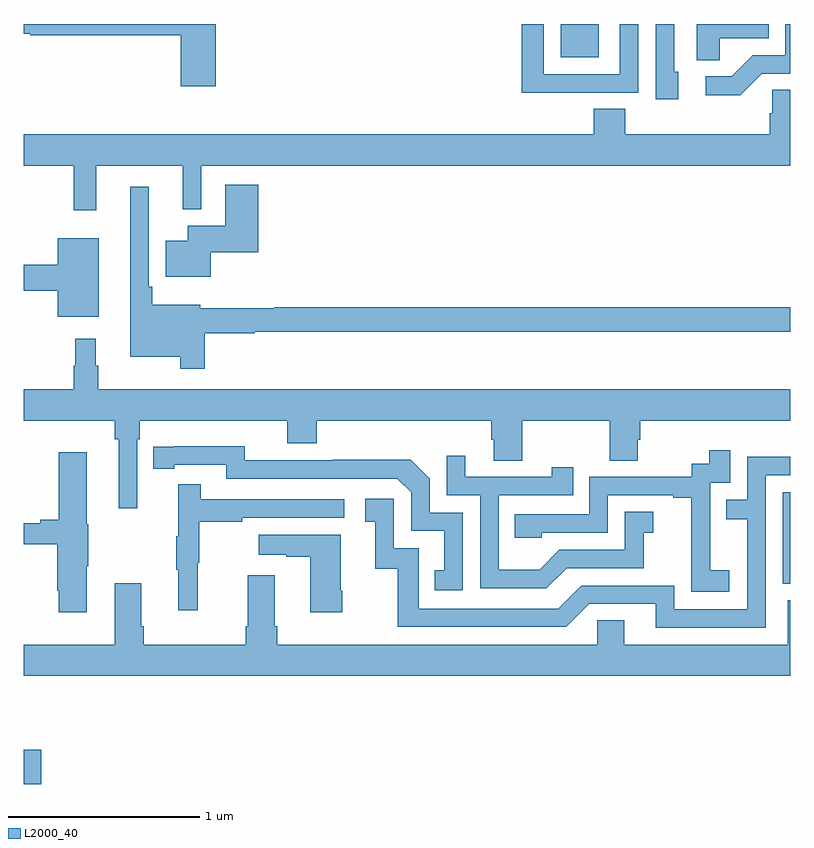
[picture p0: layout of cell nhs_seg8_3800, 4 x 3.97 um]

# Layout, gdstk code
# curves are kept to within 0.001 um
import gdstk
lib = gdstk.Library(unit=1e-6, precision=1e-09)
def R(c, l, rs):  # rectangles x0, y0, x1, y1
    for r in rs: c.add(gdstk.rectangle(r[:2], r[2:], *l))
def P(c, l, *ps):  # polygons
    for p in ps: c.add(gdstk.Polygon(p, *l))
L2000_40 = (2000, 40)

nhs_seg8_3800 = lib.new_cell('nhs_seg8_3800')
R(nhs_seg8_3800, L2000_40, [(345,1119.932,345.091,1120.11), (348.963,1120.977,349,1121.454), (347.804,1123.727,348.001,1123.9)])
P(nhs_seg8_3800, L2000_40, [(348.852,1123.641),(349,1123.641),(349,1123.9),(348.975,1123.9),(348.975,1123.737),(348.806,1123.737),(348.695,1123.626),(348.561,1123.626),(348.561,1123.529),(348.739,1123.529)],
  [(346.001,1123.9),(345,1123.9),(345,1123.848),(345.034,1123.848),(345.034,1123.84),(345.818,1123.84),(345.818,1123.575),(346.001,1123.575)],
  [(348.633,1123.826),(348.89,1123.826),(348.89,1123.9),(348.512,1123.9),(348.512,1123.711),(348.633,1123.711)],
  [(348.415,1123.65),(348.396,1123.65),(348.396,1123.9),(348.3,1123.9),(348.3,1123.506),(348.415,1123.506)],
  [(347.891,1123.542),(348.207,1123.542),(348.207,1123.9),(348.111,1123.9),(348.111,1123.638),(347.715,1123.638),(347.715,1123.9),(347.599,1123.9),(347.599,1123.541),(347.891,1123.541)],
  [(345.377,1123.16),(345.83,1123.16),(345.83,1122.932),(345.927,1122.932),(345.927,1123.16),(349,1123.16),(349,1123.556),(348.906,1123.556),(348.906,1123.433),(348.893,1123.433),(348.893,1123.324),(348.14,1123.324),(348.14,1123.457),(347.975,1123.457),(347.975,1123.324),(345,1123.324),(345,1123.16),(345.259,1123.16),(345.259,1122.927),(345.377,1122.927)],
  [(345.976,1122.707),(346.223,1122.707),(346.223,1123.06),(346.052,1123.06),(346.052,1122.847),(345.854,1122.847),(345.854,1122.769),(345.74,1122.769),(345.74,1122.581),(345.976,1122.581)],
  [(345.944,1122.286),(346.206,1122.286),(346.206,1122.294),(349,1122.294),(349,1122.422),(346.306,1122.422),(346.306,1122.415),(345.921,1122.415),(345.921,1122.433),(345.671,1122.433),(345.671,1122.529),(345.651,1122.529),(345.651,1123.051),(345.554,1123.051),(345.554,1122.164),(345.816,1122.164),(345.816,1122.099),(345.944,1122.099)],
  [(345.391,1122.781),(345.176,1122.781),(345.176,1122.644),(345,1122.644),(345,1122.508),(345.176,1122.508),(345.176,1122.371),(345.391,1122.371)],
  [(345.591,1121.732),(345.605,1121.732),(345.605,1121.828),(346.376,1121.828),(346.376,1121.711),(346.529,1121.711),(346.529,1121.828),(347.441,1121.828),(347.441,1121.73),(347.453,1121.73),(347.453,1121.62),(347.601,1121.62),(347.601,1121.828),(348.058,1121.828),(348.058,1121.62),(348.205,1121.62),(348.205,1121.73),(348.218,1121.73),(348.218,1121.828),(349,1121.828),(349,1121.992),(345.388,1121.992),(345.388,1122.116),(345.376,1122.116),(345.376,1122.256),(345.267,1122.256),(345.267,1122.116),(345.259,1122.116),(345.259,1121.992),(345,1121.992),(345,1121.828),(345.475,1121.828),(345.475,1121.732),(345.494,1121.732),(345.494,1121.373),(345.591,1121.373)],
  [(347.292,1121.349),(347.118,1121.349),(347.118,1121.526),(347.02,1121.624),(346.612,1121.624),(346.612,1121.622),(346.152,1121.622),(346.152,1121.695),(345.676,1121.694),(345.676,1121.578),(345.784,1121.578),(345.784,1121.598),(346.056,1121.598),(346.056,1121.526),(346.95,1121.526),(347.022,1121.454),(347.022,1121.253),(347.195,1121.253),(347.195,1121.049),(347.146,1121.049),(347.146,1120.944),(347.292,1120.944)],
  [(348.682,1121.047),(348.584,1121.047),(348.584,1121.276),(348.582,1121.276),(348.582,1121.505),(348.687,1121.505),(348.687,1121.674),(348.579,1121.674),(348.579,1121.604),(348.486,1121.604),(348.486,1121.535),(347.952,1121.535),(347.952,1121.34),(347.563,1121.34),(347.563,1121.217),(347.703,1121.217),(347.703,1121.244),(348.048,1121.244),(348.048,1121.439),(348.389,1121.439),(348.389,1121.427),(348.485,1121.427),(348.485,1121.143),(348.484,1121.143),(348.484,1120.937),(348.682,1120.937)],
  [(345.328,1121.068),(345.336,1121.068),(345.336,1121.289),(345.328,1121.289),(345.328,1121.665),(345.182,1121.665),(345.182,1121.312),(345.086,1121.312),(345.086,1121.293),(345,1121.293),(345,1121.184),(345.175,1121.184),(345.175,1120.942),(345.182,1120.942),(345.182,1120.83),(345.328,1120.83)],
  [(347.833,1121.058),(348.237,1121.058),(348.237,1121.243),(348.286,1121.243),(348.286,1121.353),(348.138,1121.353),(348.138,1121.154),(347.796,1121.154),(347.692,1121.05),(347.478,1121.05),(347.478,1121.439),(347.867,1121.439),(347.867,1121.587),(347.756,1121.587),(347.756,1121.535),(347.305,1121.535),(347.305,1121.647),(347.208,1121.647),(347.208,1121.439),(347.382,1121.439),(347.382,1120.953),(347.728,1120.953)],
  [(348.873,1121.544),(349,1121.544),(349,1121.64),(348.777,1121.64),(348.777,1121.415),(348.667,1121.415),(348.667,1121.314),(348.777,1121.314),(348.777,1120.845),(348.396,1120.845),(348.396,1120.968),(347.91,1120.968),(347.79,1120.848),(347.061,1120.848),(347.061,1121.163),(346.932,1121.163),(346.932,1121.422),(346.782,1121.422),(346.782,1121.301),(346.835,1121.301),(346.835,1121.055),(346.953,1121.055),(346.953,1120.752),(347.832,1120.752),(347.952,1120.872),(348.299,1120.872),(348.299,1120.749),(348.873,1120.749)],
  [(345.908,1121.088),(345.916,1121.088),(345.916,1121.302),(346.139,1121.302),(346.139,1121.322),(346.672,1121.322),(346.672,1121.418),(345.923,1121.418),(345.923,1121.497),(345.806,1121.497),(345.806,1121.225),(345.795,1121.225),(345.795,1121.051),(345.806,1121.051),(345.806,1120.839),(345.908,1120.839)],
  [(346.662,1120.942),(346.654,1120.942),(346.654,1121.233),(346.227,1121.233),(346.227,1121.129),(346.37,1121.129),(346.37,1121.119),(346.496,1121.119),(346.496,1120.83),(346.662,1120.83)],
  [(347.994,1120.787),(347.994,1120.66),(346.322,1120.66),(346.322,1120.756),(346.309,1120.756),(346.309,1121.023),(346.169,1121.023),(346.169,1120.756),(346.157,1120.756),(346.157,1120.66),(345.626,1120.66),(345.626,1120.756),(345.613,1120.756),(345.613,1120.981),(345.473,1120.981),(345.473,1120.66),(345,1120.66),(345,1120.496),(349,1120.496),(349,1120.892),(348.989,1120.892),(348.989,1120.66),(348.133,1120.66),(348.133,1120.787)])

lib.write_gds('nhs_seg8_3800.gds')
